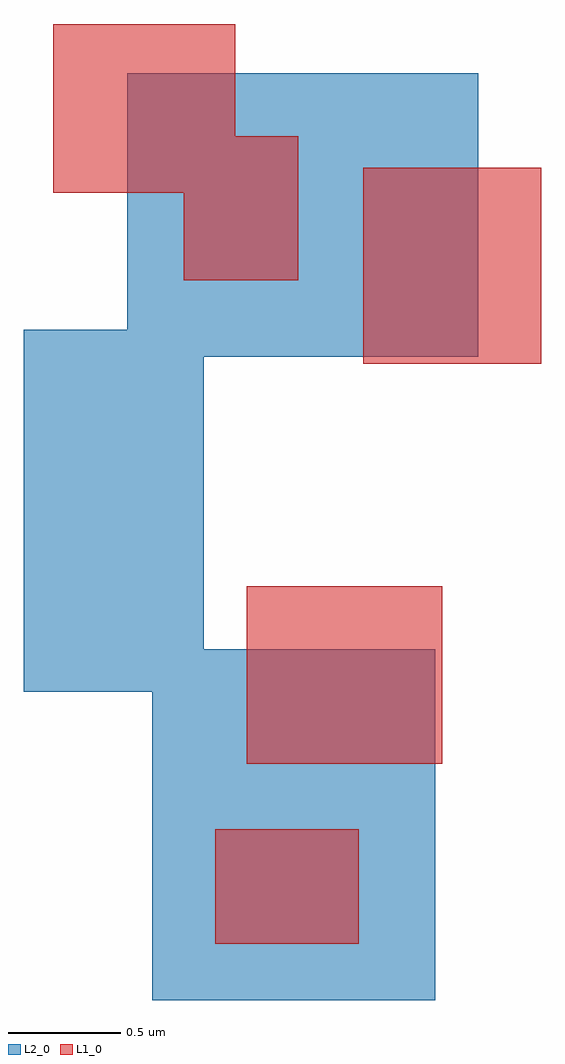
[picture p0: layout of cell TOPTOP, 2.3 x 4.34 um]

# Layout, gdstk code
import gdstk
lib = gdstk.Library(unit=1e-6, precision=1e-09)
def R(c, l, rs):  # rectangles x0, y0, x1, y1
    for r in rs: c.add(gdstk.rectangle(r[:2], r[2:], *l))
L1_0 = (1, 0)
L2_0 = (2, 0)

toptop = lib.new_cell('TOPTOP')
R(toptop, L1_0, [(0.65,-2.13,1.29,-1.62), (0.79,-1.33,1.66,-0.54), (1.31,0.45,2.1,1.32), (0.51,0.82,1.02,1.46), (-0.07,1.21,0.74,1.96)])
R(toptop, L2_0, [(0.37,-2.38,1.63,-0.82), (-0.2,-1.01,0.6,0.6), (0.26,0.48,1.82,1.74)])

lib.write_gds('TOPTOP.gds')
